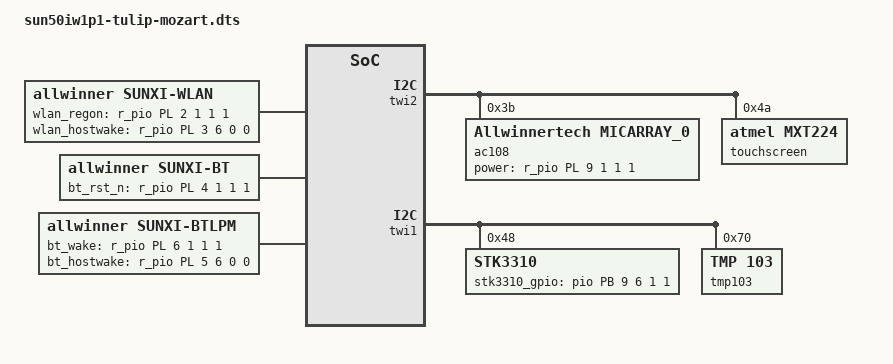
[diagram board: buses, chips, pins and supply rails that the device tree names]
/*
 * Allwinner Technology CO., Ltd. sun50iw1p1 fpga board.
 *
 * fpga board support.
 */

/dts-v1/;

#include "sun50iw1p1.dtsi"

/{
	soc@01c00000 {
		twi2: twi@0x01c2b400 {
			status = "okay";
			ac108@3b{
				compatible = "Allwinnertech,MicArray_0";
				reg = <0x3b>;
				debug_mode = <0>;
				pga_gain = <0x32>;
				ref_pga_gain = <0x08>;
				twi_bus = <2>;
				regulator_used = <1>;
				voltage_enable = "vcc-audio18";
				gpio-power = <&r_pio PL 9 1 1 1 1>;
			};
			touchscreen: atmel_ctp@4A {
				compatible = "atmel,mXT224";
				reg = <0x4A>;
				atmel,suspend_mode = <0>;
			};
		};
		twi1: twi@0x01c2b000{
			status = "okay";
			stk3310@48{
				compatible = "STK3310";
				stk3310_gpio-gpios = <&pio PB 9 6 1 1 1>;
				reg = <0x48>;
			};
			tmp103@70{
				compatible = "TMP 103";
				reg = <0x70>;
			};
		};
		snddaudio0:sound@1 {
			sunxi,snddaudio-codec = "ac108.2-003b";
			sunxi,snddaudio-codec-dai = "ac108-pcm0";
		};
		keyboard0:keyboard {
			key_cnt = <3>;
			key0 = <191 115>;
			key1 = <391 114>;
			key2 = <600 542>;
		};
	};
	wlan:wlan {
		compatible = "allwinner,sunxi-wlan";
		wlan_power = "vcc-wifi";
		wlan_io_regulator = "vcc-wifi-io";
		wlan_busnum = <1>;
		wlan_regon = <&r_pio PL 2 1 1 1 0>;
		wlan_hostwake = <&r_pio PL 3 6 0 0 0>;
		status = "okay";
	};

	bt:bt {
		compatible = "allwinner,sunxi-bt";
		bt_power = "vcc-wifi";
		bt_io_regulator = "vcc-wifi-io";
		bt_rst_n = <&r_pio PL 4 1 1 1 0>;
		status = "okay";
	};

	btlpm:btlpm {
		compatible = "allwinner,sunxi-btlpm";
		uart_index = <1>;
		bt_wake = <&r_pio PL 6 1 1 1 1>;
		bt_hostwake = <&r_pio PL 5 6 0 0 0>;
		status = "okay";
	};
};
